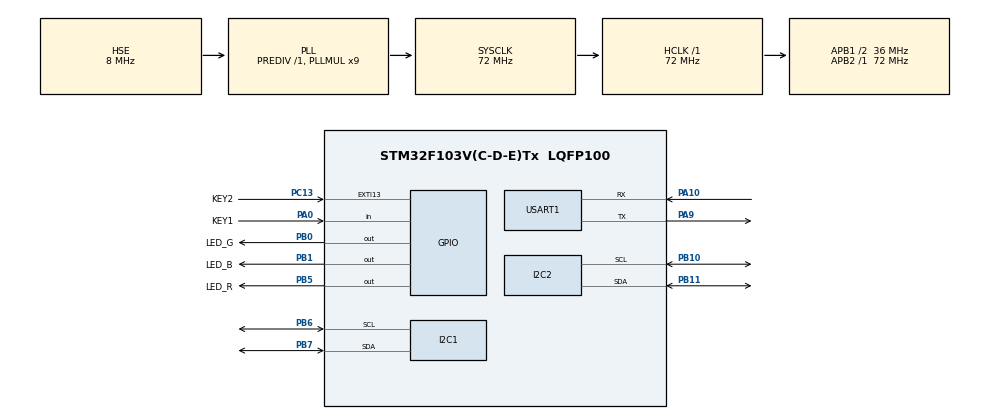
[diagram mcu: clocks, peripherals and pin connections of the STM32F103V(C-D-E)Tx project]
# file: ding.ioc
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Mcu.Family=STM32F1
Mcu.Name=STM32F103V(C-D-E)Tx
Mcu.Package=LQFP100
NVIC.EXTI15_10_IRQn=true\:6\:0\:true\:false\:true\:true\:true
NVIC.PriorityGroup=NVIC_PRIORITYGROUP_4
NVIC.TIM2_IRQn=true\:0\:0\:false\:false\:true\:false\:true
NVIC.TimeBase=TIM2_IRQn
NVIC.TimeBaseIP=TIM2
NVIC.USART1_IRQn=true\:5\:0\:true\:false\:true\:true\:true
OSC_IN.Mode=HSE-External-Oscillator
OSC_IN.Signal=RCC_OSC_IN
OSC_OUT.Mode=HSE-External-Oscillator
OSC_OUT.Signal=RCC_OSC_OUT
PA0-WKUP.GPIO_Label=KEY1
PA0-WKUP.Signal=GPIO_Input
PA10.Mode=Asynchronous
PA10.Signal=USART1_RX
PA13.Mode=Serial_Wire
PA13.Signal=SYS_JTMS-SWDIO
PA14.Mode=Serial_Wire
PA14.Signal=SYS_JTCK-SWCLK
PA9.Mode=Asynchronous
PA9.Signal=USART1_TX
PB0.GPIO_Label=LED_G
PB0.GPIO_Speed=GPIO_SPEED_FREQ_HIGH
PB0.PinState=GPIO_PIN_SET
PB0.Signal=GPIO_Output
PB1.GPIO_Label=LED_B
PB1.GPIO_Speed=GPIO_SPEED_FREQ_HIGH
PB1.PinState=GPIO_PIN_SET
PB1.Signal=GPIO_Output
PB10.Mode=I2C
PB10.Signal=I2C2_SCL
PB11.Mode=I2C
PB11.Signal=I2C2_SDA
PB5.GPIO_Label=LED_R
PB5.GPIO_Speed=GPIO_SPEED_FREQ_HIGH
PB5.PinState=GPIO_PIN_SET
PB5.Signal=GPIO_Output
PB6.Mode=I2C
PB6.Signal=I2C1_SCL
PB7.Mode=I2C
PB7.Signal=I2C1_SDA
PC13-TAMPER-RTC.GPIO_Label=KEY2
PC13-TAMPER-RTC.Signal=GPXTI13
ProjectManager.HeapSize=0x0
ProjectManager.StackSize=0x400
ProjectManager.TargetToolchain=MDK-ARM V5
RCC.AHBFreq_Value=72000000
RCC.APB1CLKDivider=RCC_HCLK_DIV2
RCC.APB1Freq_Value=36000000
RCC.APB1TimFreq_Value=72000000
RCC.APB2Freq_Value=72000000
RCC.APB2TimFreq_Value=72000000
RCC.HCLKFreq_Value=72000000
RCC.PLLMUL=RCC_PLL_MUL9
RCC.PLLSourceVirtual=RCC_PLLSOURCE_HSE
RCC.SYSCLKFreq_VALUE=72000000
RCC.SYSCLKSource=RCC_SYSCLKSOURCE_PLLCLK
RCC.USBFreq_Value=72000000
USART1.VirtualMode=VM_ASYNC
VP_SYS_VS_tim2.Mode=TIM2
board=custom

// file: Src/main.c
/* USER CODE BEGIN Header */
/**
  ******************************************************************************
  * @file           : main.c
  * @brief          : Main program body
  ******************************************************************************
  * @attention
  *
  * <h2><center>&copy; Copyright (c) 2020 STMicroelectronics.
  * All rights reserved.</center></h2>
  *
  * This software component is licensed by ST under BSD 3-Clause license,
  * the "License"; You may not use this file except in compliance with the
  * License. You may obtain a copy of the License at:
  *                        opensource.org/licenses/BSD-3-Clause
  *
  ******************************************************************************
  */
/* USER CODE END Header */

#include "main.h"
#include "i2c.h"
#include "usart.h"
#include "gpio.h"

/* USER CODE BEGIN Includes */
#include "bsp_led.h"
#include "bsp_key.h"
#include "bsp_usart.h"

#include "FreeRTOS.h"
#include "task.h"

/* USER CODE END Includes */

void SystemClock_Config(void);
/* USER CODE BEGIN PFP */
void start_task(void *pvParameters);
void task1_task(void *pvParameters);
void task2_task(void *pvParameters);
void key_task(void *pvParameters);

/* USER CODE END PFP */

/* USER CODE BEGIN 0 */
#define START_TASK_SIZE    128
#define START_TASK_PRIO    1
TaskHandle_t Start_Task_Handle;

#define TASK1_TASK_SIZE   128
#define TASK1_TASK_PRIO   2
TaskHandle_t Task1_Handle;

#define TASK2_TASK_SIZE   128
#define TASK2_TASK_PRIO   3
TaskHandle_t Task2_Handle;

#define KEY_TASK_SIZE     128
#define KEY_TASK_PRIO     4
TaskHandle_t KEY_Task_Handle;

/* USER CODE END 0 */

int main(void)
{

  /* MCU Configuration--------------------------------------------------------*/

  /* Reset of all peripherals, Initializes the Flash interface and the Systick. */
  HAL_Init();

  /* Configure the system clock */
  SystemClock_Config();

  /* Initialize all configured peripherals */
  MX_GPIO_Init();
  MX_USART1_UART_Init();
  MX_I2C1_Init();
  MX_I2C2_Init();
  /* USER CODE BEGIN 2 */

  // 创建开始任务
  xTaskCreate((TaskFunction_t ) start_task,
              (char *         ) "start_task",
              (uint16_t       ) START_TASK_SIZE,
              (void *         ) NULL,
              (UBaseType_t    ) START_TASK_PRIO,
              (TaskHandle_t * ) &Start_Task_Handle);

  vTaskStartScheduler();    // 开启调度器

  /* USER CODE END 2 */

  /* Infinite loop */
  while (1)
  {

  }
}

void SystemClock_Config(void)
{
  RCC_OscInitTypeDef RCC_OscInitStruct = {0};
  RCC_ClkInitTypeDef RCC_ClkInitStruct = {0};

  /** Initializes the CPU, AHB and APB busses clocks
  */
  RCC_OscInitStruct.OscillatorType = RCC_OSCILLATORTYPE_HSE;
  RCC_OscInitStruct.HSEState = RCC_HSE_ON;
  RCC_OscInitStruct.HSEPredivValue = RCC_HSE_PREDIV_DIV1;
  RCC_OscInitStruct.HSIState = RCC_HSI_ON;
  RCC_OscInitStruct.PLL.PLLState = RCC_PLL_ON;
  RCC_OscInitStruct.PLL.PLLSource = RCC_PLLSOURCE_HSE;
  RCC_OscInitStruct.PLL.PLLMUL = RCC_PLL_MUL9;
  if (HAL_RCC_OscConfig(&RCC_OscInitStruct) != HAL_OK)
  {
    Error_Handler();
  }
  /** Initializes the CPU, AHB and APB busses clocks
  */
  RCC_ClkInitStruct.ClockType = RCC_CLOCKTYPE_HCLK|RCC_CLOCKTYPE_SYSCLK
                              |RCC_CLOCKTYPE_PCLK1|RCC_CLOCKTYPE_PCLK2;
  RCC_ClkInitStruct.SYSCLKSource = RCC_SYSCLKSOURCE_PLLCLK;
  RCC_ClkInitStruct.AHBCLKDivider = RCC_SYSCLK_DIV1;
  RCC_ClkInitStruct.APB1CLKDivider = RCC_HCLK_DIV2;
  RCC_ClkInitStruct.APB2CLKDivider = RCC_HCLK_DIV1;

  if (HAL_RCC_ClockConfig(&RCC_ClkInitStruct, FLASH_LATENCY_2) != HAL_OK)
  {
    Error_Handler();
  }
}

/* USER CODE BEGIN 4 */

void start_task(void *pvParameters)
{
  // 创建任务1
  xTaskCreate((TaskFunction_t ) task1_task,
              (char *         ) "task1_task",
              (uint16_t       ) TASK1_TASK_SIZE,
              (void *         ) NULL,
              (UBaseType_t    ) TASK1_TASK_PRIO,
              (TaskHandle_t * ) &Task1_Handle);
  // 创建任务2
  xTaskCreate((TaskFunction_t ) task2_task,
              (char *         ) "task2_task",
              (uint16_t       ) TASK2_TASK_SIZE,
              (void *         ) NULL,
              (UBaseType_t    ) TASK2_TASK_PRIO,
              (TaskHandle_t * ) &Task2_Handle);
  // 创建按键任务
  xTaskCreate((TaskFunction_t ) key_task,
              (char *         ) "key_task",
              (uint16_t       ) KEY_TASK_SIZE,
              (void *         ) NULL,
              (UBaseType_t    ) KEY_TASK_PRIO,
              (TaskHandle_t * ) &KEY_Task_Handle);
  // 删除开始任务
  vTaskDelete(Start_Task_Handle);
}

void task1_task(void *pvParameters)
{
  uint16_t cnt = 0;
  for (;;)
  {
    cnt++;
    LED_G_TOGGLE;
    printf("Task1 running %d\r\n", cnt);
    vTaskDelay(1000);
  }
}

void task2_task(void *pvParameters)
{
  uint16_t cnt = 0;
  for (;;)
  {
    cnt++;
    printf("Task2 running %d\r\n", cnt);
    vTaskDelay(1000);
  }
}

void key_task(void *pvParameters)
{
  uint8_t key_status = 0, flag = 0;
  for (; ;)
  {
    key_status = key_scan(KEY1_GPIO_Port, KEY1_Pin);

    if (key_status)
    {
      flag = !flag;
      printf("按键1按下\r\n");
      if (flag)
      {
        printf("按键1挂起任务1\r\n");
        vTaskSuspend(Task1_Handle);
      }
      else
      {
        printf("按键1恢复任务1\r\n");
        vTaskResume(Task1_Handle);
      }
    }

    vTaskDelay(10);
  }
}

/* USER CODE END 4 */

void HAL_TIM_PeriodElapsedCallback(TIM_HandleTypeDef *htim)
{
  if (htim->Instance == TIM2) {
    HAL_IncTick();
  }
}

void Error_Handler(void)
{
}

/************************ (C) COPYRIGHT STMicroelectronics *****END OF FILE****/
